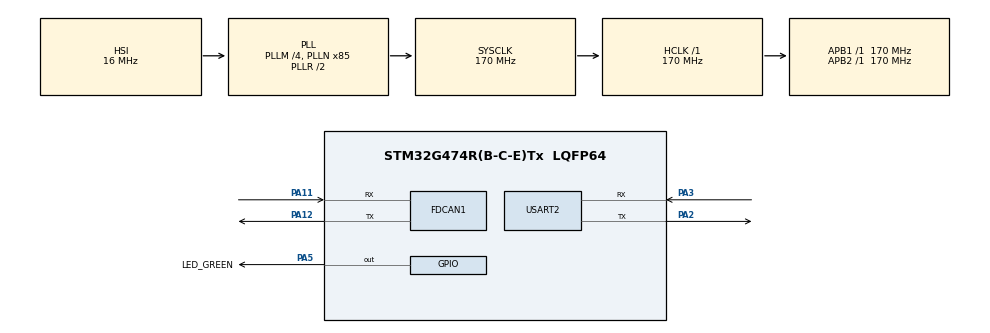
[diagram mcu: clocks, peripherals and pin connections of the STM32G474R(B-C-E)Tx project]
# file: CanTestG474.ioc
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FDCAN1.CalculateBaudRateNominal=100117
FDCAN1.CalculateTimeBitNominal=9988
FDCAN1.CalculateTimeQuantumNominal=3329.4117647058824
FDCAN1.ClockDivider=FDCAN_CLOCK_DIV2
FDCAN1.NominalPrescaler=283
FREERTOS.Queues01=queueRxCAN,8,CanMsg,0,Dynamic,NULL,NULL
FREERTOS.Tasks01=defaultTask,24,128,StartDefaultTask,Default,NULL,Dynamic,NULL,NULL
Mcu.Family=STM32G4
Mcu.Name=STM32G474R(B-C-E)Tx
Mcu.Package=LQFP64
NVIC.FDCAN1_IT0_IRQn=true\:5\:0\:false\:false\:true\:true\:true\:true\:true
NVIC.FDCAN1_IT1_IRQn=true\:5\:0\:false\:false\:true\:true\:true\:true\:true
NVIC.PriorityGroup=NVIC_PRIORITYGROUP_4
NVIC.TIM6_DAC_IRQn=true\:15\:0\:false\:false\:true\:false\:false\:true\:true
NVIC.TimeBase=TIM6_DAC_IRQn
NVIC.TimeBaseIP=TIM6
PA11.GPIO_PuPd=GPIO_PULLUP
PA11.GPIO_Speed=GPIO_SPEED_FREQ_VERY_HIGH
PA11.Mode=FDCAN_Activate
PA11.Signal=FDCAN1_RX
PA12.GPIO_Speed=GPIO_SPEED_FREQ_VERY_HIGH
PA12.Mode=FDCAN_Activate
PA12.Signal=FDCAN1_TX
PA13.GPIO_Label=T_SWDIO
PA13.Mode=Trace_Asynchronous_SW
PA13.Signal=SYS_JTMS-SWDIO
PA14.GPIO_Label=T_SWCLK
PA14.Mode=Trace_Asynchronous_SW
PA14.Signal=SYS_JTCK-SWCLK
PA2.Mode=Asynchronous
PA2.Signal=USART2_TX
PA3.Mode=Asynchronous
PA3.Signal=USART2_RX
PA5.GPIO_Label=LED_GREEN
PA5.Signal=GPIO_Output
PB3.GPIO_Label=T_SWO
PB3.Mode=Trace_Asynchronous_SW
PB3.Signal=SYS_JTDO-SWO
PC14-OSC32_IN.GPIO_Label=RCC_OSC32_IN
PC14-OSC32_IN.Signal=RCC_OSC32_IN
PC15-OSC32_OUT.GPIO_Label=RCC_OSC32_OUT
PC15-OSC32_OUT.Signal=RCC_OSC32_OUT
PF0-OSC_IN.GPIO_Label=RCC_OSC_IN
PF0-OSC_IN.Signal=RCC_OSC_IN
PF1-OSC_OUT.GPIO_Label=RCC_OSC_OUT
PF1-OSC_OUT.Signal=RCC_OSC_OUT
ProjectManager.HeapSize=0x200
ProjectManager.StackSize=0x400
ProjectManager.TargetToolchain=STM32CubeIDE
RCC.ADC12Freq_Value=170000000
RCC.ADC345Freq_Value=170000000
RCC.AHBFreq_Value=170000000
RCC.APB1Freq_Value=170000000
RCC.APB1TimFreq_Value=170000000
RCC.APB2Freq_Value=170000000
RCC.APB2TimFreq_Value=170000000
RCC.CortexFreq_Value=170000000
RCC.EXTERNAL_CLOCK_VALUE=12288000
RCC.HCLKFreq_Value=170000000
RCC.HSE_VALUE=24000000
RCC.HSI48_VALUE=48000000
RCC.HSI_VALUE=16000000
RCC.LSE_VALUE=32768
RCC.PLLM=RCC_PLLM_DIV4
RCC.PLLN=85
RCC.RTCClockSelection=RCC_RTCCLKSOURCE_LSE
RCC.SYSCLKFreq_VALUE=170000000
RCC.SYSCLKSource=RCC_SYSCLKSOURCE_PLLCLK
RCC.USBFreq_Value=170000000
RCC.VCOOutputFreq_Value=340000000
USART2.VirtualMode-Asynchronous=VM_ASYNC
VP_FREERTOS_VS_CMSIS_V2.Mode=CMSIS_V2
VP_SYS_VS_DBSignals.Mode=DisableDeadBatterySignals
VP_SYS_VS_tim6.Mode=TIM6
board=NUCLEO-G474RE

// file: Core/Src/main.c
/* USER CODE BEGIN Header */
/**
  ******************************************************************************
  * @file           : main.c
  * @brief          : Main program body
  ******************************************************************************
  * @attention
  *
  * Copyright (c) 2024 STMicroelectronics.
  * All rights reserved.
  *
  * This software is licensed under terms that can be found in the LICENSE file
  * in the root directory of this software component.
  * If no LICENSE file comes with this software, it is provided AS-IS.
  *
  ******************************************************************************
  */
/* USER CODE END Header */
#include "main.h"
#include "cmsis_os.h"

/* USER CODE BEGIN Includes */

#include <stdio.h>
#include <string.h>

/* USER CODE END Includes */

FDCAN_HandleTypeDef hfdcan1;

UART_HandleTypeDef huart2;

/* Definitions for defaultTask */
osThreadId_t defaultTaskHandle;
const osThreadAttr_t defaultTask_attributes = {
  .name = "defaultTask",
  .priority = (osPriority_t) osPriorityNormal,
  .stack_size = 128 * 4
};
/* Definitions for queueRxCAN */
osMessageQueueId_t queueRxCANHandle;
const osMessageQueueAttr_t queueRxCAN_attributes = {
  .name = "queueRxCAN"
};

void SystemClock_Config(void);
static void MX_GPIO_Init(void);
static void MX_FDCAN1_Init(void);
static void MX_USART2_UART_Init(void);
void StartDefaultTask(void *argument);

/* USER CODE BEGIN 0 */

int _write(int file, char *data, int len)
{
	HAL_UART_Transmit(&huart2, (uint8_t*)data, len, 100);
	return len;
}

typedef struct
{
	uint8_t data[9];
} CanMsg;

/* USER CODE END 0 */

int main(void)
{

  /* MCU Configuration--------------------------------------------------------*/

  /* Reset of all peripherals, Initializes the Flash interface and the Systick. */
  HAL_Init();

  /* Configure the system clock */
  SystemClock_Config();

  /* Initialize all configured peripherals */
  MX_GPIO_Init();
  MX_FDCAN1_Init();
  MX_USART2_UART_Init();

  /* Init scheduler */
  osKernelInitialize();

  /* Create the queue(s) */
  /* creation of queueRxCAN */
  queueRxCANHandle = osMessageQueueNew (8, sizeof(CanMsg), &queueRxCAN_attributes);

  /* Create the thread(s) */
  /* creation of defaultTask */
  defaultTaskHandle = osThreadNew(StartDefaultTask, NULL, &defaultTask_attributes);

  /* Start scheduler */
  osKernelStart();

  /* We should never get here as control is now taken by the scheduler */

  /* Infinite loop */
  while (1)
  {

  }
}

void SystemClock_Config(void)
{
  RCC_OscInitTypeDef RCC_OscInitStruct = {0};
  RCC_ClkInitTypeDef RCC_ClkInitStruct = {0};

  /** Configure the main internal regulator output voltage
  */
  HAL_PWREx_ControlVoltageScaling(PWR_REGULATOR_VOLTAGE_SCALE1_BOOST);

  /** Initializes the RCC Oscillators according to the specified parameters
  * in the RCC_OscInitTypeDef structure.
  */
  RCC_OscInitStruct.OscillatorType = RCC_OSCILLATORTYPE_HSI;
  RCC_OscInitStruct.HSIState = RCC_HSI_ON;
  RCC_OscInitStruct.HSICalibrationValue = RCC_HSICALIBRATION_DEFAULT;
  RCC_OscInitStruct.PLL.PLLState = RCC_PLL_ON;
  RCC_OscInitStruct.PLL.PLLSource = RCC_PLLSOURCE_HSI;
  RCC_OscInitStruct.PLL.PLLM = RCC_PLLM_DIV4;
  RCC_OscInitStruct.PLL.PLLN = 85;
  RCC_OscInitStruct.PLL.PLLP = RCC_PLLP_DIV2;
  RCC_OscInitStruct.PLL.PLLQ = RCC_PLLQ_DIV2;
  RCC_OscInitStruct.PLL.PLLR = RCC_PLLR_DIV2;
  if (HAL_RCC_OscConfig(&RCC_OscInitStruct) != HAL_OK)
  {
    Error_Handler();
  }

  /** Initializes the CPU, AHB and APB buses clocks
  */
  RCC_ClkInitStruct.ClockType = RCC_CLOCKTYPE_HCLK|RCC_CLOCKTYPE_SYSCLK
                              |RCC_CLOCKTYPE_PCLK1|RCC_CLOCKTYPE_PCLK2;
  RCC_ClkInitStruct.SYSCLKSource = RCC_SYSCLKSOURCE_PLLCLK;
  RCC_ClkInitStruct.AHBCLKDivider = RCC_SYSCLK_DIV1;
  RCC_ClkInitStruct.APB1CLKDivider = RCC_HCLK_DIV1;
  RCC_ClkInitStruct.APB2CLKDivider = RCC_HCLK_DIV1;

  if (HAL_RCC_ClockConfig(&RCC_ClkInitStruct, FLASH_LATENCY_4) != HAL_OK)
  {
    Error_Handler();
  }
}

static void MX_FDCAN1_Init(void)
{

  hfdcan1.Instance = FDCAN1;
  hfdcan1.Init.ClockDivider = FDCAN_CLOCK_DIV2;
  hfdcan1.Init.FrameFormat = FDCAN_FRAME_CLASSIC;
  hfdcan1.Init.Mode = FDCAN_MODE_NORMAL;
  hfdcan1.Init.AutoRetransmission = DISABLE;
  hfdcan1.Init.TransmitPause = DISABLE;
  hfdcan1.Init.ProtocolException = DISABLE;
  hfdcan1.Init.NominalPrescaler = 283;
  hfdcan1.Init.NominalSyncJumpWidth = 1;
  hfdcan1.Init.NominalTimeSeg1 = 1;
  hfdcan1.Init.NominalTimeSeg2 = 1;
  hfdcan1.Init.DataPrescaler = 1;
  hfdcan1.Init.DataSyncJumpWidth = 1;
  hfdcan1.Init.DataTimeSeg1 = 1;
  hfdcan1.Init.DataTimeSeg2 = 1;
  hfdcan1.Init.StdFiltersNbr = 0;
  hfdcan1.Init.ExtFiltersNbr = 0;
  hfdcan1.Init.TxFifoQueueMode = FDCAN_TX_FIFO_OPERATION;
  if (HAL_FDCAN_Init(&hfdcan1) != HAL_OK)
  {
    Error_Handler();
  }
  /* USER CODE BEGIN FDCAN1_Init 2 */

  FDCAN_FilterTypeDef canFilterConfig;
  canFilterConfig.IdType = FDCAN_STANDARD_ID;
  canFilterConfig.FilterIndex = 0;
  canFilterConfig.FilterType = FDCAN_FILTER_RANGE;
  canFilterConfig.FilterConfig = FDCAN_FILTER_TO_RXFIFO0;
  canFilterConfig.FilterID1 = 0x000;
  canFilterConfig.FilterID2 = 0x010;

  if (HAL_FDCAN_ConfigFilter(&hfdcan1, &canFilterConfig) != HAL_OK)
  {
	  Error_Handler();
  }

  /* USER CODE END FDCAN1_Init 2 */

}

static void MX_USART2_UART_Init(void)
{

  huart2.Instance = USART2;
  huart2.Init.BaudRate = 115200;
  huart2.Init.WordLength = UART_WORDLENGTH_8B;
  huart2.Init.StopBits = UART_STOPBITS_1;
  huart2.Init.Parity = UART_PARITY_NONE;
  huart2.Init.Mode = UART_MODE_TX_RX;
  huart2.Init.HwFlowCtl = UART_HWCONTROL_NONE;
  huart2.Init.OverSampling = UART_OVERSAMPLING_16;
  huart2.Init.OneBitSampling = UART_ONE_BIT_SAMPLE_DISABLE;
  huart2.Init.ClockPrescaler = UART_PRESCALER_DIV1;
  huart2.AdvancedInit.AdvFeatureInit = UART_ADVFEATURE_NO_INIT;
  if (HAL_UART_Init(&huart2) != HAL_OK)
  {
    Error_Handler();
  }
  if (HAL_UARTEx_SetTxFifoThreshold(&huart2, UART_TXFIFO_THRESHOLD_1_8) != HAL_OK)
  {
    Error_Handler();
  }
  if (HAL_UARTEx_SetRxFifoThreshold(&huart2, UART_RXFIFO_THRESHOLD_1_8) != HAL_OK)
  {
    Error_Handler();
  }
  if (HAL_UARTEx_DisableFifoMode(&huart2) != HAL_OK)
  {
    Error_Handler();
  }

}

static void MX_GPIO_Init(void)
{
  GPIO_InitTypeDef GPIO_InitStruct = {0};

  /* GPIO Ports Clock Enable */
  __HAL_RCC_GPIOC_CLK_ENABLE();
  __HAL_RCC_GPIOF_CLK_ENABLE();
  __HAL_RCC_GPIOA_CLK_ENABLE();
  __HAL_RCC_GPIOB_CLK_ENABLE();

  /*Configure GPIO pin Output Level */
  HAL_GPIO_WritePin(LED_GREEN_GPIO_Port, LED_GREEN_Pin, GPIO_PIN_RESET);

  /*Configure GPIO pin : LED_GREEN_Pin */
  GPIO_InitStruct.Pin = LED_GREEN_Pin;
  GPIO_InitStruct.Mode = GPIO_MODE_OUTPUT_PP;
  GPIO_InitStruct.Pull = GPIO_NOPULL;
  GPIO_InitStruct.Speed = GPIO_SPEED_FREQ_LOW;
  HAL_GPIO_Init(LED_GREEN_GPIO_Port, &GPIO_InitStruct);

}

/* USER CODE BEGIN 4 */

void HAL_FDCAN_RxFifo0Callback(FDCAN_HandleTypeDef *hfdcan, uint32_t RxFifo0ITs)
{
	if ((RxFifo0ITs & FDCAN_IT_RX_FIFO0_NEW_MESSAGE) != 0)
	{
		FDCAN_RxHeaderTypeDef rxHeader;
		uint8_t rxData[8];

		if (HAL_FDCAN_GetRxMessage(&hfdcan1, FDCAN_RX_FIFO0, &rxHeader, rxData) == HAL_OK)
		{
			CanMsg msg;
			strncpy((char*)(msg.data), (char*)rxData, 8);
			osMessageQueuePut(queueRxCANHandle, &msg, 0, 0);
		}
	}
}

/* USER CODE END 4 */

void StartDefaultTask(void *argument)
{
  /* USER CODE BEGIN 5 */

	if (HAL_FDCAN_Start(&hfdcan1) != HAL_OK)
	{
		Error_Handler();
	}
	if (HAL_FDCAN_ActivateNotification(&hfdcan1, FDCAN_IT_RX_FIFO0_NEW_MESSAGE, 0) != HAL_OK)
	{
		Error_Handler();
	}

	CanMsg msg;

	printf("CANFD rx interrupt example CMSIS OS2\r\n");

	/* Infinite loop */
	for(;;)
	{
		osMessageQueueGet(queueRxCANHandle, &msg, NULL, osWaitForever);
		msg.data[8] = '\0';
		printf("got message: %s\r\n", msg.data);
		memset(msg.data, '\0', 8);
	}
  /* USER CODE END 5 */
}

void HAL_TIM_PeriodElapsedCallback(TIM_HandleTypeDef *htim)
{
  if (htim->Instance == TIM6) {
    HAL_IncTick();
  }
}

void Error_Handler(void)
{
  /* USER CODE BEGIN Error_Handler_Debug */
  /* User can add his own implementation to report the HAL error return state */
  __disable_irq();
  while (1)
  {
	  HAL_GPIO_TogglePin(LED_GREEN_GPIO_Port, LED_GREEN_Pin);
	  HAL_Delay(100);
  }
  /* USER CODE END Error_Handler_Debug */
}
